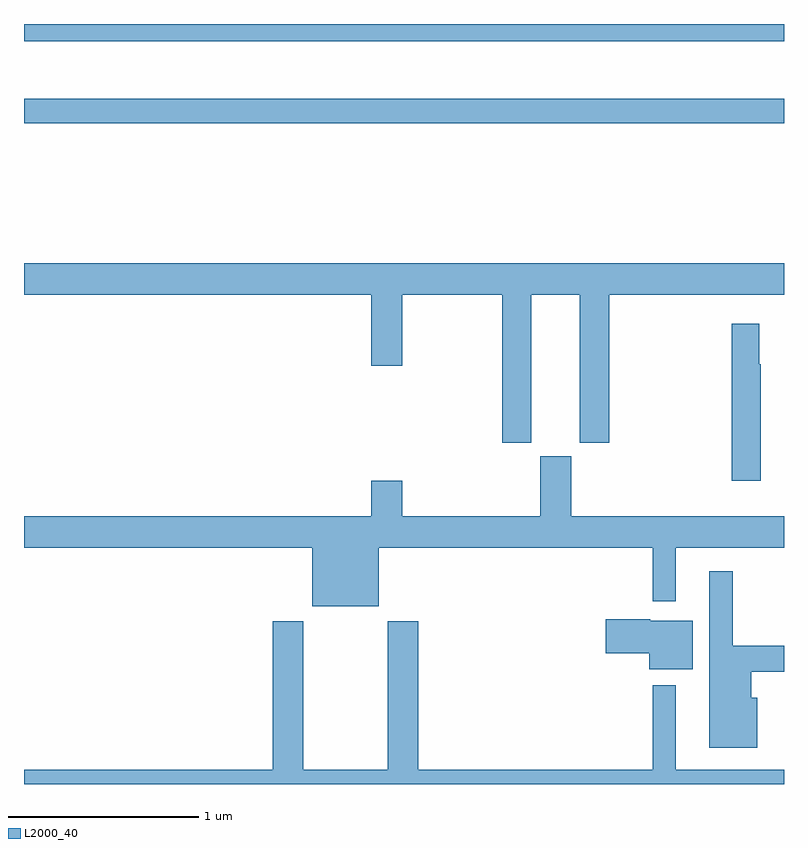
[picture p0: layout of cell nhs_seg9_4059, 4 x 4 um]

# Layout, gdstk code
import gdstk
lib = gdstk.Library(unit=1e-6, precision=1e-09)
def R(c, l, rs):  # rectangles x0, y0, x1, y1
    for r in rs: c.add(gdstk.rectangle(r[:2], r[2:], *l))
def P(c, l, *ps):  # polygons
    for p in ps: c.add(gdstk.Polygon(p, *l))
L2000_40 = (2000, 40)

nhs_seg9_4059 = lib.new_cell('nhs_seg9_4059')
R(nhs_seg9_4059, L2000_40, [(343,1207.978,347,1208.107), (343,1208.408,347,1208.5)])
P(nhs_seg9_4059, L2000_40, [(345.67,1207.076),(345.926,1207.076),(345.926,1206.297),(346.079,1206.297),(346.079,1207.076),(347,1207.076),(347,1207.24),(343,1207.24),(343,1207.076),(344.828,1207.076),(344.828,1206.702),(344.992,1206.702),(344.992,1207.076),(345.518,1207.076),(345.518,1206.297),(345.67,1206.297)],
  [(346.878,1206.709),(346.87,1206.709),(346.87,1206.922),(346.724,1206.922),(346.724,1206.096),(346.878,1206.096)],
  [(344.866,1205.744),(346.308,1205.744),(346.308,1205.463),(346.429,1205.463),(346.429,1205.744),(347,1205.744),(347,1205.908),(345.88,1205.908),(345.88,1206.225),(345.716,1206.225),(345.716,1205.908),(344.992,1205.908),(344.992,1206.097),(344.828,1206.097),(344.828,1205.908),(343,1205.908),(343,1205.744),(344.516,1205.744),(344.516,1205.435),(344.866,1205.435)],
  [(346.858,1204.954),(346.828,1204.954),(346.828,1205.092),(347,1205.092),(347,1205.228),(346.729,1205.228),(346.729,1205.62),(346.607,1205.62),(346.607,1204.691),(346.858,1204.691)],
  [(346.519,1205.359),(346.296,1205.359),(346.296,1205.367),(346.062,1205.367),(346.062,1205.189),(346.292,1205.189),(346.292,1205.105),(346.519,1205.105)],
  [(347,1204.576),(346.429,1204.576),(346.429,1205.02),(346.308,1205.02),(346.308,1204.576),(345.074,1204.576),(345.074,1205.356),(344.914,1205.356),(344.914,1204.576),(344.469,1204.576),(344.469,1205.356),(344.309,1205.356),(344.309,1204.576),(343,1204.576),(343,1204.5),(347,1204.5)])

lib.write_gds('nhs_seg9_4059.gds')
